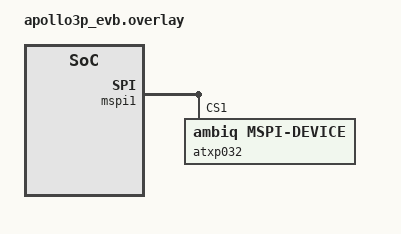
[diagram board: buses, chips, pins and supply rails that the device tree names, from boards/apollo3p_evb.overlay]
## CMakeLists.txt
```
# SPDX-License-Identifier: Apache-2.0

cmake_minimum_required(VERSION 3.20.0)
find_package(Zephyr REQUIRED HINTS $ENV{ZEPHYR_BASE})
project(mspi_flash)

FILE(GLOB app_sources src/*.c)
target_sources(app PRIVATE ${app_sources})

if(CONFIG_FLASH_MSPI_ATXP032)
  target_include_directories(app PRIVATE ${ZEPHYR_BASE}/include/zephyr/drivers)
  target_include_directories(app PRIVATE ${ZEPHYR_BASE}/drivers/mspi)
endif()
```

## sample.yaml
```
sample:
  name: MSPI Flash Sample
tests:
  sample.drivers.mspi.flash:
    tags:
      - mspi
      - flash
    filter: dt_compat_enabled("jedec,spi-nor") or dt_compat_enabled("mspi-atxp032")
    platform_exclude: hifive_unmatched
    harness: console
    harness_config:
      type: multi_line
      ordered: true
      regex:
        - "Test 1: Flash erase"
        - "Flash erase succeeded!"
        - "Test 2: Flash write"
        - "Attempting to write 4 bytes"
        - "Data read matches data written. Good!!"
    depends_on: mspi
```

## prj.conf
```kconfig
CONFIG_STDOUT_CONSOLE=y
CONFIG_FLASH=y
CONFIG_MSPI=y
```

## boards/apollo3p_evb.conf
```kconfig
# Copyright (c) 2024 Ambiq Micro Inc. <www.ambiq.com>
# SPDX-License-Identifier: Apache-2.0

CONFIG_FLASH_MSPI_ATXP032=y
CONFIG_LOG=y
CONFIG_LOG_DEFAULT_LEVEL=0
CONFIG_MSPI_INIT_PRIORITY=40
CONFIG_FLASH_INIT_PRIORITY=50
CONFIG_PM_DEVICE=y
```

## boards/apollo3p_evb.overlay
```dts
/*
 * Copyright (c) 2024 Ambiq Micro Inc. <www.ambiq.com>
 *
 * SPDX-License-Identifier: Apache-2.0
 */

/ {
	aliases {
		flash0 = &atxp032;
	};
};

&gpio64_95 {
	status = "okay";
};

&gpio32_63 {
	status = "okay";
};

&mspi1 {

	pinctrl-0 = <&mspi1_default>;
	pinctrl-1 = <&mspi1_sleep>;
	pinctrl-2 = <&mspi1_psram>;
	pinctrl-3 = <&mspi1_flash>;
	pinctrl-names = "default","sleep","psram","flash";
	status = "okay";

	ce-gpios = <&gpio64_95 5 GPIO_ACTIVE_LOW>,
		   <&gpio32_63 18 GPIO_ACTIVE_LOW>;

	cmdq-buffer-location = ".mspi_buff";
	cmdq-buffer-size = <256>;

	aps6404l: aps6404l@0 {
		compatible = "ambiq,mspi-device", "mspi-aps6404l";
		size = <DT_SIZE_M(64)>;
		reg = <0>;
		status = "disabled";
		mspi-max-frequency = <48000000>;
		mspi-io-mode = "MSPI_IO_MODE_QUAD";
		mspi-data-rate = "MSPI_DATA_RATE_SINGLE";
		mspi-hardware-ce-num = <0>;
		read-command = <0xEB>;
		write-command = <0x38>;
		command-length = "INSTR_1_BYTE";
		address-length = "ADDR_3_BYTE";
		rx-dummy = <6>;
		tx-dummy = <0>;
		xip-config = <1 0 0 0>;
		ce-break-config = <1024 3>;
		ambiq,timing-config-mask = <3>;
		ambiq,timing-config = <0 6 0 0 0 0 0 0>;
	};

	atxp032: atxp032@1 {
		compatible = "ambiq,mspi-device", "mspi-atxp032";
		size = <DT_SIZE_M(32)>;
		reg = <1>;
		status = "okay";
		mspi-max-frequency = <48000000>;
		mspi-io-mode = "MSPI_IO_MODE_OCTAL";
		mspi-data-rate = "MSPI_DATA_RATE_SINGLE";
		mspi-hardware-ce-num = <0>;
		read-command = <0x0B>;
		write-command = <0x02>;
		command-length = "INSTR_1_BYTE";
		address-length = "ADDR_4_BYTE";
		rx-dummy = <8>;
		tx-dummy = <0>;
		xip-config = <1 0 0 0>;
		ce-break-config = <0 0>;
		ambiq,timing-config-mask = <3>;
		ambiq,timing-config = <0 8 0 0 0 0 0 0>;
	};

};

&pinctrl {

	mspi1_sleep: mspi1_sleep{

		group1 {
			pinmux = <GPIO_P51>,
				 <GPIO_P52>,
				 <GPIO_P53>,
				 <GPIO_P54>,
				 <GPIO_P55>,
				 <GPIO_P56>,
				 <GPIO_P57>,
				 <GPIO_P58>,
				 <GPIO_P59>,
				 <GPIO_P69>,
				 <GPIO_P50>;
		};

	};

	mspi1_psram: mspi1_psram{

		group1 {
			pinmux = <MSPI1_0_P51>,
				 <MSPI1_1_P52>,
				 <MSPI1_2_P53>,
				 <MSPI1_3_P54>,
				 <MSPI1_4_P55>,
				 <MSPI1_5_P56>,
				 <MSPI1_6_P57>,
				 <MSPI1_7_P58>;
			drive-strength = "0.75";
			ambiq,iom-mspi = <0>;
			ambiq,iom-num = <1>;
		};

		group2 {
			pinmux = <MSPI1_8_P59>;
			drive-strength = "0.75";
			ambiq,iom-mspi = <0>;
			ambiq,iom-num = <2>;
		};

		group3 {
			pinmux = <NCE69_P69>;
			drive-strength = "1.0";
			ambiq,iom-mspi = <0>;
			ambiq,iom-num = <1>;
		};

		group4 {
			pinmux = <GPIO_P50>;
		};

	};

	mspi1_flash: mspi1_flash{

		group1 {
			pinmux = <MSPI1_0_P51>,
					<MSPI1_1_P52>,
					<MSPI1_2_P53>,
					<MSPI1_3_P54>,
					<MSPI1_4_P55>,
					<MSPI1_5_P56>,
					<MSPI1_6_P57>,
					<MSPI1_7_P58>;
			drive-strength = "0.75";
			ambiq,iom-mspi = <0>;
			ambiq,iom-num = <1>;
		};

		group2 {
			pinmux = <MSPI1_8_P59>;
			drive-strength = "0.75";
			ambiq,iom-mspi = <0>;
			ambiq,iom-num = <2>;
		};

		group3 {
			pinmux = <NCE50_P50>;
			drive-strength = "1.0";
			ambiq,iom-mspi = <0>;
			ambiq,iom-num = <1>;
		};

		group4 {
			pinmux = <GPIO_P69>;
		};

	};
};
```

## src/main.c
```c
/*
 * Copyright (c) 2024 Ambiq Micro Inc. <www.ambiq.com>
 *
 * SPDX-License-Identifier: Apache-2.0
 */

#include <zephyr/kernel.h>
#include <zephyr/drivers/flash.h>
#include <zephyr/device.h>
#include <zephyr/devicetree.h>
#include <stdio.h>
#include <string.h>

#define SPI_FLASH_TEST_REGION_OFFSET 0xff000

#define SPI_FLASH_SECTOR_SIZE        4096

#define SPI_FLASH_MULTI_SECTOR_TEST

int single_sector_test(const struct device *flash_dev)
{
	const uint8_t expected[] = { 0x55, 0xaa, 0x66, 0x99 };
	const size_t len = sizeof(expected);
	uint8_t buf[sizeof(expected)];
	int rc;

	printf("\nPerform test on single sector");
	/* Write protection needs to be disabled before each write or
	 * erase, since the flash component turns on write protection
	 * automatically after completion of write and erase
	 * operations.
	 */
	printf("\nTest 1: Flash erase\n");

	/* Full flash erase if SPI_FLASH_TEST_REGION_OFFSET = 0 and
	 * SPI_FLASH_SECTOR_SIZE = flash size
	 */
	rc = flash_erase(flash_dev, SPI_FLASH_TEST_REGION_OFFSET,
			 SPI_FLASH_SECTOR_SIZE);
	if (rc != 0) {
		printf("Flash erase failed! %d\n", rc);
	} else {
		printf("Flash erase succeeded!\n");
	}

	printf("\nTest 2: Flash write\n");

	printf("Attempting to write %zu bytes\n", len);
	rc = flash_write(flash_dev, SPI_FLASH_TEST_REGION_OFFSET, expected, len);
	if (rc != 0) {
		printf("Flash write failed! %d\n", rc);
		return 1;
	}

	memset(buf, 0, len);
	rc = flash_read(flash_dev, SPI_FLASH_TEST_REGION_OFFSET, buf, len);
	if (rc != 0) {
		printf("Flash read failed! %d\n", rc);
		return 1;
	}

	if (memcmp(expected, buf, len) == 0) {
		printf("Data read matches data written. Good!!\n");
	} else {
		const uint8_t *wp = expected;
		const uint8_t *rp = buf;
		const uint8_t *rpe = rp + len;

		printf("Data read does not match data written!!\n");
		while (rp < rpe) {
			printf("%08x wrote %02x read %02x %s\n",
			       (uint32_t)(SPI_FLASH_TEST_REGION_OFFSET + (rp - buf)),
			       *wp, *rp, (*rp == *wp) ? "match" : "MISMATCH");
			++rp;
			++wp;
		}
	}
	return rc;
}

#if defined SPI_FLASH_MULTI_SECTOR_TEST
int multi_sector_test(const struct device *flash_dev)
{
	const uint8_t expected[] = { 0x55, 0xaa, 0x66, 0x99 };
	const size_t len = sizeof(expected);
	uint8_t buf[sizeof(expected)];
	int rc;

	printf("\nPerform test on multiple consequtive sectors");

	/* Write protection needs to be disabled before each write or
	 * erase, since the flash component turns on write protection
	 * automatically after completion of write and erase
	 * operations.
	 */
	printf("\nTest 1: Flash erase\n");

	/* Full flash erase if SPI_FLASH_TEST_REGION_OFFSET = 0 and
	 * SPI_FLASH_SECTOR_SIZE = flash size
	 * Erase 2 sectors for check for erase of consequtive sectors
	 */
	rc = flash_erase(flash_dev, SPI_FLASH_TEST_REGION_OFFSET, SPI_FLASH_SECTOR_SIZE * 2);
	if (rc != 0) {
		printf("Flash erase failed! %d\n", rc);
	} else {
		/* Read the content and check for erased */
		memset(buf, 0, len);
		size_t offs = SPI_FLASH_TEST_REGION_OFFSET;

		while (offs < SPI_FLASH_TEST_REGION_OFFSET + 2 * SPI_FLASH_SECTOR_SIZE) {
			rc = flash_read(flash_dev, offs, buf, len);
			if (rc != 0) {
				printf("Flash read failed! %d\n", rc);
				return 1;
			}
			if (buf[0] != 0xff) {
				printf("Flash erase failed at offset 0x%x got 0x%x\n",
				offs, buf[0]);
				return 1;
			}
			offs += SPI_FLASH_SECTOR_SIZE;
		}
		printf("Flash erase succeeded!\n");
	}

	printf("\nTest 2: Flash write\n");

	size_t offs = SPI_FLASH_TEST_REGION_OFFSET;

	while (offs < SPI_FLASH_TEST_REGION_OFFSET + 2 * SPI_FLASH_SECTOR_SIZE) {
		printf("Attempting to write %zu bytes at offset 0x%x\n", len, offs);
		rc = flash_write(flash_dev, offs, expected, len);
		if (rc != 0) {
			printf("Flash write failed! %d\n", rc);
			return 1;
		}

		memset(buf, 0, len);
		rc = flash_read(flash_dev, offs, buf, len);
		if (rc != 0) {
			printf("Flash read failed! %d\n", rc);
			return 1;
		}

		if (memcmp(expected, buf, len) == 0) {
			printf("Data read matches data written. Good!!\n");
		} else {
			const uint8_t *wp = expected;
			const uint8_t *rp = buf;
			const uint8_t *rpe = rp + len;

			printf("Data read does not match data written!!\n");
			while (rp < rpe) {
				printf("%08x wrote %02x read %02x %s\n",
					(uint32_t)(offs + (rp - buf)),
					*wp, *rp, (*rp == *wp) ? "match" : "MISMATCH");
				++rp;
				++wp;
			}
		}
		offs += SPI_FLASH_SECTOR_SIZE;
	}
	return rc;
}
#endif

int main(void)
{
	const struct device *flash_dev = DEVICE_DT_GET(DT_ALIAS(flash0));

	if (!device_is_ready(flash_dev)) {
		printk("%s: device not ready.\n", flash_dev->name);
		return 1;
	}

	printf("\n%s SPI flash testing\n", flash_dev->name);
	printf("==========================\n");

	if (single_sector_test(flash_dev)) {
		return 1;
	}
#if defined SPI_FLASH_MULTI_SECTOR_TEST
	if (multi_sector_test(flash_dev)) {
		return 1;
	}
#endif
	printf("==========================\n");
	return 0;
}
```
